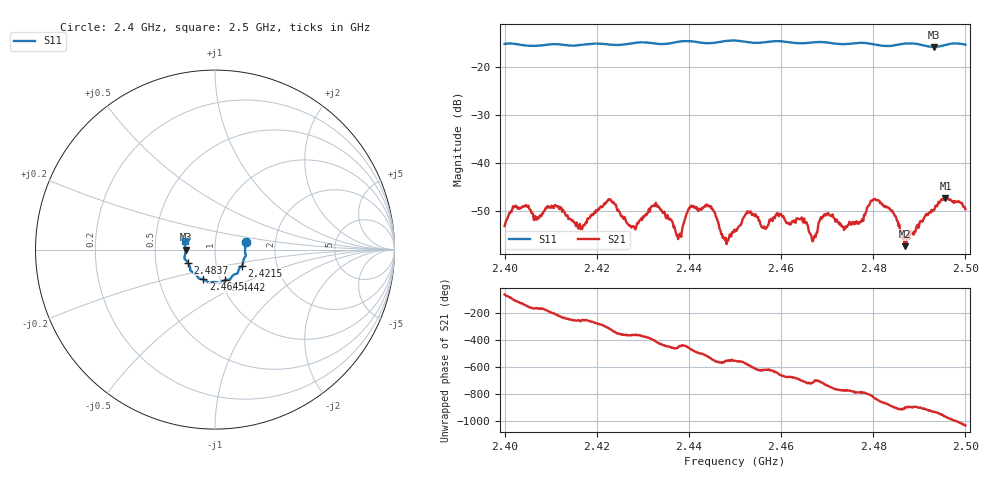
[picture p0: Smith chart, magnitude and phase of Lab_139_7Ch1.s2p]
# Hz S RI R 50
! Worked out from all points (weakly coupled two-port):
!   601 points, 2.4 GHz to 2.5 GHz, reference 50 ohm
!   highest |S21| = -47.20 dB at 2.4957 GHz (marker M1); lowest = -57.3 dB at 2.4868 GHz (marker M2)
!   lowest |S11| = -15.7 dB at 2.4932 GHz (marker M3), VSWR 1.39, Z = 35.9 - j0.0651 ohm
!   |S11| at or under -10 dB: start of sweep to end of sweep
!   S12 and S22 are empty: the file has one direction only
!   S11 on the Smith chart (normalised r, x): 2.4 GHz: 1.41, +0.12; 2.4215 GHz: 1.33, -0.25; 2.4442 GHz: 1.05, -0.37; 2.4645 GHz: 0.83, -0.29; 2.4837 GHz: 0.73, -0.11; 2.5 GHz: 0.71, +0.07
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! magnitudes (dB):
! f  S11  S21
! 2.4 GHz  -15.1  -53.1
! 2.4112 GHz  -15.1  -48.8
! 2.4167 GHz  -15.3  -53.7
! 2.4215 GHz  -15.1  -48.7
! 2.428 GHz  -14.9  -53.1
! 2.4333 GHz  -15.1  -49.1
! 2.4378 GHz  -14.6  -55.0
! 2.4403 GHz  -14.5  -49.0
! 2.4442 GHz  -15.0  -48.9
! 2.4478 GHz  -14.5  -56.0
! 2.45 GHz  -14.4  -54.3
! 2.453 GHz  -14.8  -50.2
! 2.4645 GHz  -15.0  -51.3
! 2.4667 GHz  -14.8  -55.7
! 2.4698 GHz  -14.8  -50.8
! 2.4738 GHz  -15.1  -53.2
! 2.4833 GHz  -15.6  -49.4
! 2.4837 GHz  -15.5  -49.6
! 2.4868 GHz  -15.0  -57.3
! 2.4932 GHz  -15.7  -49.8
! 2.4957 GHz  -15.3  -47.2
! 2.5 GHz  -15.3  -49.6
